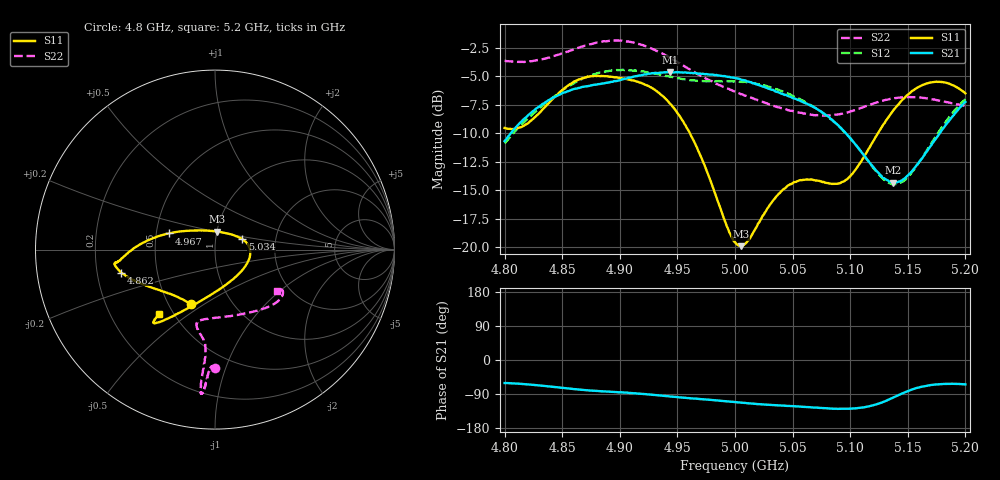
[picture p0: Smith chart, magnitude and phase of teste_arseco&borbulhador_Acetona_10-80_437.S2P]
! Network Analyzer HP8722D
! Hewlett-Packard
! Data name: Linha & Wilkinson
! Saver's name: Rodrigo Anjos
! Comments: Teste da utilização de aquisição
! continua pelo VNA HP8722D
! Time and date: 17/4/2025 18:00
!  Frequency  S11  S21  S12  S22
# HZ  S  MA R 50
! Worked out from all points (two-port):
!   401 points, 4.8 GHz to 5.2 GHz, reference 50 ohm
!   highest |S21| = -4.63 dB at 4.944 GHz (marker M1); lowest = -14.3 dB at 5.137 GHz (marker M2)
!   |S21| within 3 dB of the highest: 4.831 GHz to 5.067 GHz (236.3 MHz wide, 4.78 % of centre); 5.19636 GHz to end of sweep
!   lowest |S11| = -19.9 dB at 5.005 GHz (marker M3), VSWR 1.22, Z = 50.3 + j10.2 ohm
!   |S11| at or under -10 dB: 4.961 GHz to 5.124 GHz (163.1 MHz wide, 3.24 % of centre)
!   |S22| runs from -8.5 to -1.9 dB; largest |S21 - S12| = 0.88
!   S11 on the Smith chart (normalised r, x): 4.8 GHz: 0.65, -0.44; 4.862 GHz: 0.30, -0.11; 4.967 GHz: 0.58, +0.11; 5.034 GHz: 1.35, +0.16; 5.2 GHz: 0.42, -0.39
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4.8e9  0.3335 -113.5  0.2921 -60.8  0.2853 -174.9  0.6577 -90.0
4.819e9  0.3468 -133.6  0.3728 -64.1  0.3614 -173.7  0.6532 -91.6
4.862e9  0.5376 -166.1  0.4959 -77.1  0.5305 -177.0  0.7436 -93.9
4.867e9  0.5495 -168.2  0.5043 -78.8  0.5461 -177.9  0.7593 -94.0
4.9e9  0.5537 -172.8  0.5406 -85.1  0.5981 175.5  0.8062 -95.6
4.934e9  0.4757 -178.8  0.5822 -93.5  0.5735 171.7  0.7182 -95.9
4.944e9  0.4249 176.6  0.587 -96.4  0.5583 171.7  0.6772 -95.7
4.967e9  0.2732 160.7  0.579 -102.2  0.5367 173.8  0.5772 -95.1
5e9  0.1053 99.1  0.5522 -111.4  0.5345 176.1  0.4808 -99.3
5.005e9  0.101 82.3  0.5443 -112.6  0.5316 176.0  0.4691 -100.5
5.012e9  0.1077 60.4  0.5319 -114.4  0.5277 175.9  0.4561 -101.9
5.034e9  0.1623 20.9  0.4863 -119.1  0.4979 174.9  0.4162 -103.6
5.049e9  0.1892 5.6  0.4546 -121.6  0.4642 174.2  0.3967 -100.2
5.067e9  0.1979 -13.6  0.4154 -124.9  0.4168 173.6  0.3813 -90.6
5.086e9  0.1893 -43.9  0.3559 -128.6  0.3541 173.6  0.3804 -76.3
5.097e9  0.1982 -66.5  0.3129 -128.7  0.3126 174.8  0.3899 -67.1
5.134e9  0.3766 -116.8  0.1942 -103.8  0.1908 -156.7  0.4469 -43.0
5.137e9  0.3951 -118.6  0.1921 -99.8  0.1891 -151.9  0.4496 -41.7
5.148e9  0.4575 -123.8  0.2019 -84.6  0.198 -134.8  0.4556 -37.3
5.168e9  0.5251 -128.9  0.2701 -67.2  0.2739 -113.4  0.4476 -32.4
5.184e9  0.525 -130.5  0.3499 -63.0  0.361 -107.3  0.433 -31.0
5.2e9  0.4731 -130.9  0.434 -64.4  0.4463 -106.5  0.4161 -33.4
